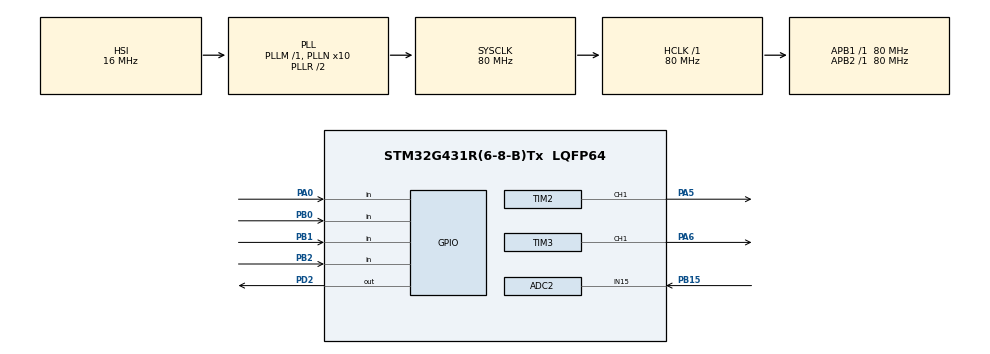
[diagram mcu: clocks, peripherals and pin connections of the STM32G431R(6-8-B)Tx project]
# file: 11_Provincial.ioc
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ADC2.Channel-0\#ChannelRegularConversion=ADC_CHANNEL_15
ADC2.NbrOfConversionFlag=1
ADC2.OffsetNumber-0\#ChannelRegularConversion=ADC_OFFSET_NONE
ADC2.Rank-0\#ChannelRegularConversion=1
ADC2.SamplingTime-0\#ChannelRegularConversion=ADC_SAMPLETIME_2CYCLES_5
Mcu.Family=STM32G4
Mcu.Name=STM32G431R(6-8-B)Tx
Mcu.Package=LQFP64
NVIC.PriorityGroup=NVIC_PRIORITYGROUP_4
PA0.GPIO_PuPd=GPIO_PULLUP
PA0.Signal=GPIO_Input
PA13.Mode=Serial_Wire
PA13.Signal=SYS_JTMS-SWDIO
PA14.Mode=Serial_Wire
PA14.Signal=SYS_JTCK-SWCLK
PA5.Signal=S_TIM2_CH1
PA6.Signal=S_TIM3_CH1
PB0.GPIO_PuPd=GPIO_PULLUP
PB0.Signal=GPIO_Input
PB1.GPIO_PuPd=GPIO_PULLUP
PB1.Signal=GPIO_Input
PB15.Mode=IN15-Single-Ended
PB15.Signal=ADC2_IN15
PB2.GPIO_PuPd=GPIO_PULLUP
PB2.Signal=GPIO_Input
PD2.Signal=GPIO_Output
ProjectManager.HeapSize=0x200
ProjectManager.StackSize=0x400
ProjectManager.TargetToolchain=MDK-ARM V5.32
RCC.ADC12Freq_Value=80000000
RCC.AHBFreq_Value=80000000
RCC.APB1Freq_Value=80000000
RCC.APB1TimFreq_Value=80000000
RCC.APB2Freq_Value=80000000
RCC.APB2TimFreq_Value=80000000
RCC.CortexFreq_Value=80000000
RCC.EXTERNAL_CLOCK_VALUE=12288000
RCC.HCLKFreq_Value=80000000
RCC.HSE_VALUE=8000000
RCC.HSI48_VALUE=48000000
RCC.HSI_VALUE=16000000
RCC.LSE_VALUE=32768
RCC.PLLN=10
RCC.SYSCLKFreq_VALUE=80000000
RCC.SYSCLKSource=RCC_SYSCLKSOURCE_PLLCLK
RCC.USBFreq_Value=80000000
RCC.VCOOutputFreq_Value=160000000
SH.S_TIM2_CH1.0=TIM2_CH1,PWM Generation1 CH1
SH.S_TIM3_CH1.0=TIM3_CH1,PWM Generation1 CH1
TIM2.Channel-PWM\ Generation1\ CH1=TIM_CHANNEL_1
TIM2.PeriodNoDither=100 - 1
TIM2.Prescaler=8000 - 1
TIM3.Channel-PWM\ Generation1\ CH1=TIM_CHANNEL_1
TIM3.PeriodNoDither=100 - 1
TIM3.Prescaler=8000 - 1
VP_SYS_VS_DBSignals.Mode=DisableDeadBatterySignals
board=custom

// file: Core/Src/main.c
/* USER CODE BEGIN Header */
/**
  ******************************************************************************
  * @file           : main.c
  * @brief          : Main program body
  ******************************************************************************
  * @attention
  *
  * <h2><center>&copy; Copyright (c) 2025 STMicroelectronics.
  * All rights reserved.</center></h2>
  *
  * This software component is licensed by ST under BSD 3-Clause license,
  * the "License"; You may not use this file except in compliance with the
  * License. You may obtain a copy of the License at:
  *                        opensource.org/licenses/BSD-3-Clause
  *
  ******************************************************************************
  */
/* USER CODE END Header */
#include "main.h"
#include "adc.h"
#include "tim.h"
#include "gpio.h"

/* USER CODE BEGIN Includes */
#include "pwm_settings.h"
#include "ui.h"
#include "lcd.h"

/* USER CODE END Includes */

void SystemClock_Config(void);
/* USER CODE BEGIN PFP */

static void lcd_init()
{
    LCD_Init();
    LCD_Clear(Black);
    LCD_SetBackColor(Black);
    LCD_SetTextColor(White);
}

/* USER CODE END PFP */

/* USER CODE BEGIN 0 */

Mode current_mode;
Page current_page;
uint32_t old;
static void switch_page()
{
    current_page++;
    current_page %= 2;

}

static void switch_mode(){
    current_mode++;
    current_mode %= 2;
}

void key_manual_mode()
{
    if(current_page != Manual){
        return;
    }
    if(isKeyTargetPress(2)){
        mode_rollings_pwm1();
    }
    if(isKeyTargetPress(3)){
        mode_rollings_pwm2();
    }
}

char settings_flags;
void handle_mode()
{
    switch(current_mode)
    {
        case Auto:
            if(!settings_flags){
                old = single_fetch() * 100 / 4096;
                settings_flags = 1;
            }
            auto_mode();
        break;
        case Manual:
            key_manual_mode();
        break;
    }
}

/* USER CODE END 0 */

int main(void)
{

  /* MCU Configuration--------------------------------------------------------*/

  /* Reset of all peripherals, Initializes the Flash interface and the Systick. */
  HAL_Init();

  /* Configure the system clock */
  SystemClock_Config();

  /* Initialize all configured peripherals */
  MX_GPIO_Init();
  MX_ADC2_Init();
  MX_TIM2_Init();
  MX_TIM3_Init();
  /* USER CODE BEGIN 2 */
    lcd_init();
    led_init();

    set_pwm_init_status();

  /* USER CODE END 2 */

  /* Infinite loop */
  while (1)
  {

    /* USER CODE BEGIN 3 */
    if(isKeyTargetPress(1)){
        switch_page();
        LCD_Clear(Black);
    }
    if(isKeyTargetPress(4)){
        switch_mode();
        LCD_Clear(Black);
    }
    display_as_page(current_page, current_mode);
    handle_mode();
  }
  /* USER CODE END 3 */
}

void SystemClock_Config(void)
{
  RCC_OscInitTypeDef RCC_OscInitStruct = {0};
  RCC_ClkInitTypeDef RCC_ClkInitStruct = {0};
  RCC_PeriphCLKInitTypeDef PeriphClkInit = {0};

  /** Configure the main internal regulator output voltage
  */
  HAL_PWREx_ControlVoltageScaling(PWR_REGULATOR_VOLTAGE_SCALE1);
  /** Initializes the RCC Oscillators according to the specified parameters
  * in the RCC_OscInitTypeDef structure.
  */
  RCC_OscInitStruct.OscillatorType = RCC_OSCILLATORTYPE_HSI;
  RCC_OscInitStruct.HSIState = RCC_HSI_ON;
  RCC_OscInitStruct.HSICalibrationValue = RCC_HSICALIBRATION_DEFAULT;
  RCC_OscInitStruct.PLL.PLLState = RCC_PLL_ON;
  RCC_OscInitStruct.PLL.PLLSource = RCC_PLLSOURCE_HSI;
  RCC_OscInitStruct.PLL.PLLM = RCC_PLLM_DIV1;
  RCC_OscInitStruct.PLL.PLLN = 10;
  RCC_OscInitStruct.PLL.PLLP = RCC_PLLP_DIV2;
  RCC_OscInitStruct.PLL.PLLQ = RCC_PLLQ_DIV2;
  RCC_OscInitStruct.PLL.PLLR = RCC_PLLR_DIV2;
  if (HAL_RCC_OscConfig(&RCC_OscInitStruct) != HAL_OK)
  {
    Error_Handler();
  }
  /** Initializes the CPU, AHB and APB buses clocks
  */
  RCC_ClkInitStruct.ClockType = RCC_CLOCKTYPE_HCLK|RCC_CLOCKTYPE_SYSCLK
                              |RCC_CLOCKTYPE_PCLK1|RCC_CLOCKTYPE_PCLK2;
  RCC_ClkInitStruct.SYSCLKSource = RCC_SYSCLKSOURCE_PLLCLK;
  RCC_ClkInitStruct.AHBCLKDivider = RCC_SYSCLK_DIV1;
  RCC_ClkInitStruct.APB1CLKDivider = RCC_HCLK_DIV1;
  RCC_ClkInitStruct.APB2CLKDivider = RCC_HCLK_DIV1;

  if (HAL_RCC_ClockConfig(&RCC_ClkInitStruct, FLASH_LATENCY_2) != HAL_OK)
  {
    Error_Handler();
  }
  /** Initializes the peripherals clocks
  */
  PeriphClkInit.PeriphClockSelection = RCC_PERIPHCLK_ADC12;
  PeriphClkInit.Adc12ClockSelection = RCC_ADC12CLKSOURCE_SYSCLK;
  if (HAL_RCCEx_PeriphCLKConfig(&PeriphClkInit) != HAL_OK)
  {
    Error_Handler();
  }
}

void Error_Handler(void)
{
  __disable_irq();
  while (1)
  {
  }
}

/************************ (C) COPYRIGHT STMicroelectronics *****END OF FILE****/
